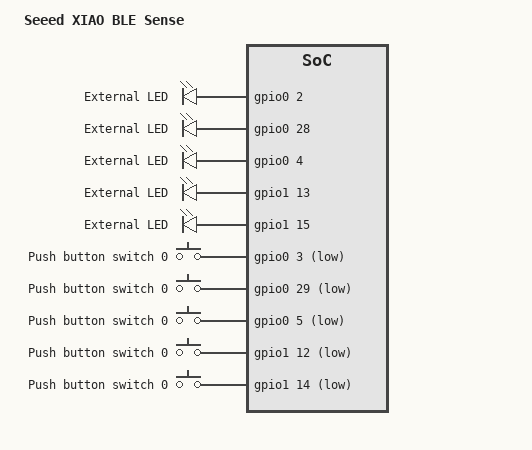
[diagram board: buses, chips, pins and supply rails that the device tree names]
/ {
    model = "Seeed XIAO BLE Sense";
	compatible = "seeed,xiao-ble", "seeed,xiao-ble-sense";

	leds {
		compatible = "gpio-leds";
		led1: led_1 {
			gpios = <&gpio0 2 GPIO_ACTIVE_HIGH>;
			label = "External LED";
		};
		led2: led_2 {
			gpios = <&gpio0 28 GPIO_ACTIVE_HIGH>;
			label = "External LED";
		};
		led3: led_3 {
			gpios = <&gpio0 4 GPIO_ACTIVE_HIGH>;
			label = "External LED";
		};
		led4: led_4 {
			gpios = <&gpio1 13 GPIO_ACTIVE_HIGH>;
			label = "External LED";
		};
		led5: led_5 {
			gpios = <&gpio1 15 GPIO_ACTIVE_HIGH>;
			label = "External LED";
		};
    };

    buttons {
        compatible = "gpio-keys";
        debounce-interval-ms = <250>;
        button1: button_1 {
            gpios = <&gpio0 3 (GPIO_PULL_UP | GPIO_ACTIVE_LOW)>;
            label = "Push button switch 0";
            zephyr,code = <INPUT_KEY_0>;
        };
        button2: button_2 {
            gpios = <&gpio0 29 (GPIO_PULL_UP | GPIO_ACTIVE_LOW)>;
            label = "Push button switch 0";
            zephyr,code = <INPUT_KEY_0>;
        };
        button3: button_3 {
            gpios = <&gpio0 5 (GPIO_PULL_UP | GPIO_ACTIVE_LOW)>;
            label = "Push button switch 0";
            zephyr,code = <INPUT_KEY_0>;
        };
        button4: button_4 {
            gpios = <&gpio1 12 (GPIO_PULL_UP | GPIO_ACTIVE_LOW)>;
            label = "Push button switch 0";
            zephyr,code = <INPUT_KEY_0>;
        };
        button5: button_5 {
            gpios = <&gpio1 14 (GPIO_PULL_UP | GPIO_ACTIVE_LOW)>;
            label = "Push button switch 0";
            zephyr,code = <INPUT_KEY_0>;
        };
    };

    aliases {
		button1 = &button1;
		button2 = &button2;
		button3 = &button3;
		button4 = &button4;
		button5 = &button5;
        led1 = &led1;
        led2 = &led2;
        led3 = &led3;
        led4 = &led4;
        led5 = &led5;
    };
};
